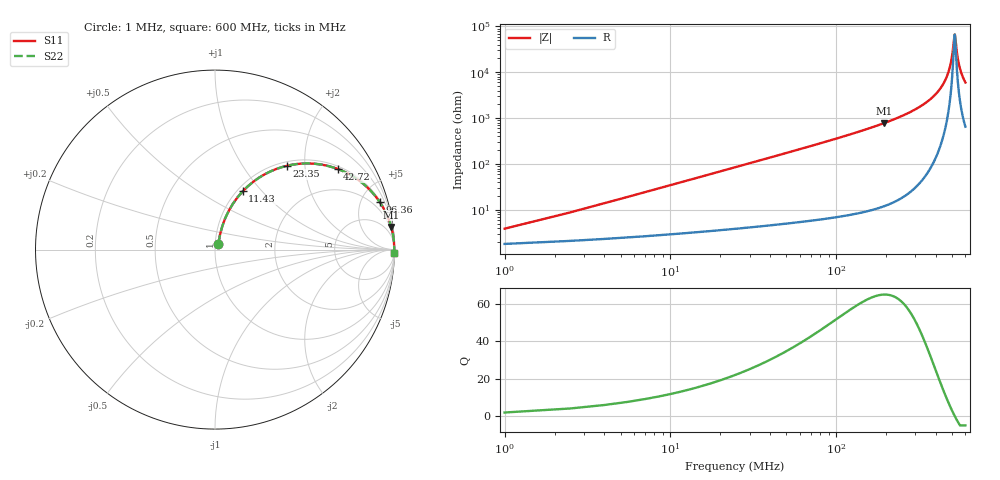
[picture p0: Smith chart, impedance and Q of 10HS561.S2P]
! Coilcraft 1008CS-561 Chip Inductor
! 02 July 2002
# MHZ S MA R 50
!Freq  MagS11  AngS11  MagS21  AngS21  MagS12  AngS12  MagS22  AngS22
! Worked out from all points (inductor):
!   404 points, 1 MHz to 600 MHz, reference 50 ohm
!   read as one part in series: L = 550 nH near 3.98 MHz
!   highest Q = 64.8 at 193.2 MHz (marker M1), where L = 639 nH
!   self-resonance near 516.5 MHz
!   S11 on the Smith chart (normalised r, x): 1 MHz: 1.04, +0.07; 11.43 MHz: 1.06, +0.79; 23.35 MHz: 1.08, +1.62; 42.72 MHz: 1.09, +2.97; 96.36 MHz: 1.14, +6.90; 600 MHz: open
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1  0.03833 60.3  0.9816 -1.9  0.9816 -1.9  0.03833 60.3
6.96  0.2295 70.5  0.9483 -13.2  0.9483 -13.2  0.2295 70.5
11.43  0.3591 64.6  0.906 -21.0  0.906 -21.0  0.3591 64.6
23.35  0.6152 49.4  0.76 -37.9  0.76 -37.9  0.6152 49.4
42.72  0.8179 33.3  0.55 -54.8  0.55 -54.8  0.8179 33.3
65.07  0.908 23.4  0.3973 -65.2  0.3973 -65.2  0.908 23.4
96.36  0.9554 16.1  0.2769 -72.8  0.2769 -72.8  0.9554 16.1
102.32  0.9604 15.1  0.2609 -73.8  0.2609 -73.8  0.9604 15.1
193.21  0.9899 7.3  0.1276 -81.8  0.1276 -81.8  0.9899 7.3
202.15  0.9909 6.9  0.1202 -82.2  0.1202 -82.2  0.9909 6.9
301.98  0.9968 3.6  0.06299 -85.2  0.06299 -85.2  0.9968 3.6
401.81  0.9984 1.6  0.02858 -85.9  0.02858 -85.9  0.9984 1.6
437.57  0.9985 1.1  0.01887 -85.0  0.01887 -85.0  0.9985 1.1
465.88  0.9986 0.7  0.01184 -82.8  0.01184 -82.8  0.9986 0.7
486.74  0.9986 0.4  0.006996 -78.1  0.006996 -78.1  0.9986 0.4
501.64  0.9986 0.2  0.003772 -67.3  0.003772 -67.3  0.9986 0.2
513.56  0.9985 0.0  0.001713 -30.2  0.001713 -30.2  0.9985 0.0
518.03  0.9985 -0.0  0.001497 3.9  0.001497 3.9  0.9985 -0.0
535.91  0.9984 -0.2  0.00419 68.0  0.00419 68.0  0.9984 -0.2
549.32  0.9984 -0.4  0.006841 76.1  0.006841 76.1  0.9984 -0.4
571.67  0.9982 -0.6  0.01124 80.7  0.01124 80.7  0.9982 -0.6
600  0.9981 -0.9  0.01665 82.8  0.01665 82.8  0.9981 -0.9
